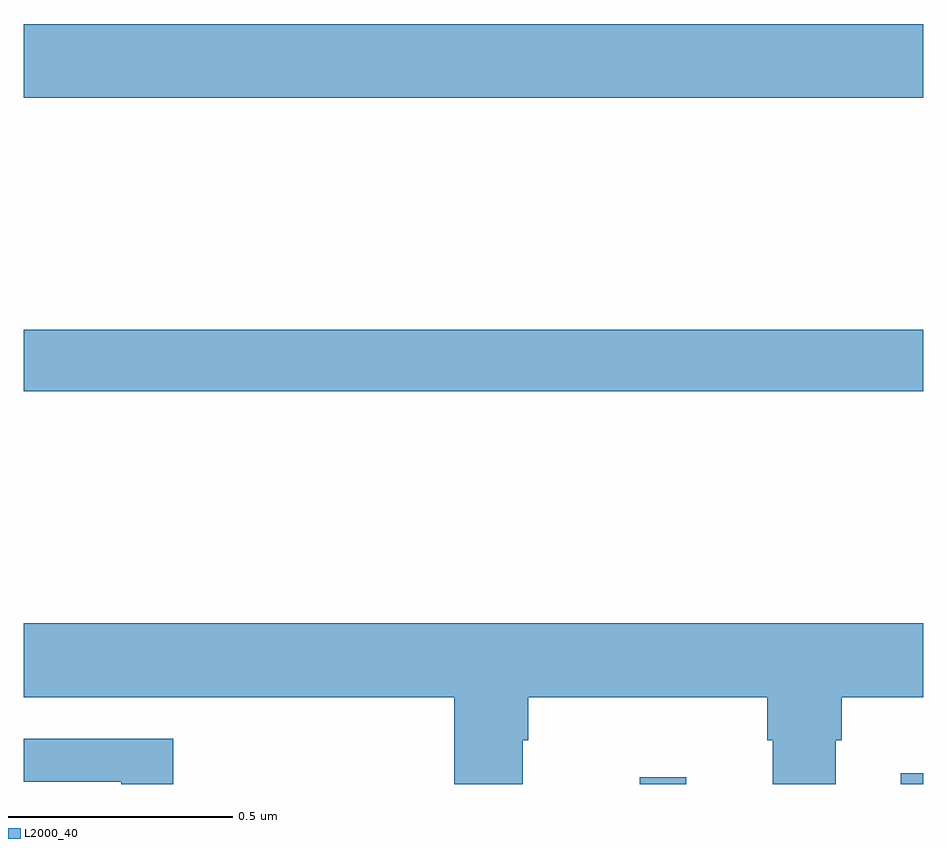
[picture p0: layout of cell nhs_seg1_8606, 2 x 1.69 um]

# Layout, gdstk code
import gdstk
lib = gdstk.Library(unit=1e-6, precision=1e-09)
def R(c, l, rs):  # rectangles x0, y0, x1, y1
    for r in rs: c.add(gdstk.rectangle(r[:2], r[2:], *l))
def P(c, l, *ps):  # polygons
    for p in ps: c.add(gdstk.Polygon(p, *l))
L2000_40 = (2000, 40)

nhs_seg1_8606 = lib.new_cell('nhs_seg1_8606')
R(nhs_seg1_8606, L2000_40, [(219.37,558.199,219.473,558.214), (219.95,558.199,220,558.223), (218,559.072,220,559.208), (218,559.724,220,559.888)])
P(nhs_seg1_8606, L2000_40, [(219.109,558.296),(219.122,558.296),(219.122,558.392),(219.653,558.392),(219.653,558.296),(219.665,558.296),(219.665,558.199),(219.805,558.199),(219.805,558.296),(219.818,558.296),(219.818,558.392),(220,558.392),(220,558.556),(218,558.556),(218,558.392),(218.957,558.392),(218.957,558.199),(219.109,558.199)],
  [(218.333,558.3),(218,558.3),(218,558.204),(218.217,558.204),(218.217,558.199),(218.333,558.199)])

lib.write_gds('nhs_seg1_8606.gds')
